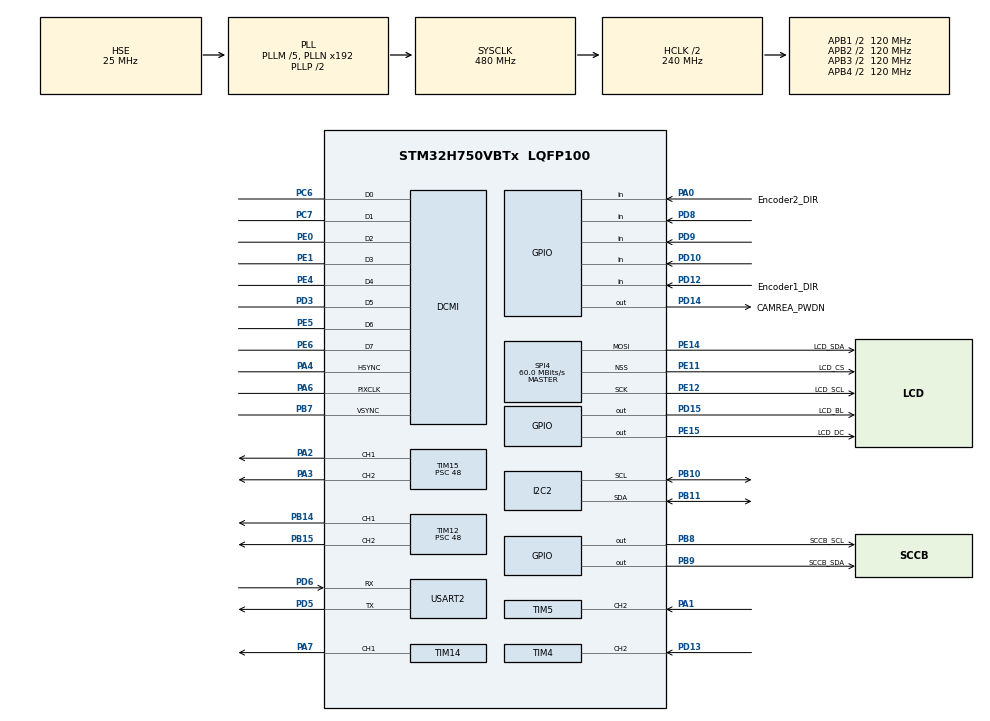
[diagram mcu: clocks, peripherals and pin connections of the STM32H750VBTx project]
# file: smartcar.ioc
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CORTEX_M7.AccessPermission_Spec=MPU_REGION_FULL_ACCESS
CORTEX_M7.BaseAddress_Spec=0x24000000
CORTEX_M7.CPU_DCache=Enabled
CORTEX_M7.CPU_ICache=Enabled
CORTEX_M7.DisableExec_Spec=MPU_INSTRUCTION_ACCESS_ENABLE
CORTEX_M7.Enable-Cortex_Memory_Protection_Unit_Region0_Settings=__NULL
CORTEX_M7.IsBufferable_Spec=MPU_ACCESS_BUFFERABLE
CORTEX_M7.IsCacheable_Spec=MPU_ACCESS_CACHEABLE
CORTEX_M7.MPU_Control=__NULL
CORTEX_M7.Size_Spec=MPU_REGION_SIZE_512KB
CORTEX_M7.SubRegionDisable_Spec=0x00
CORTEX_M7.default_mode_Activation=0
Dma.DCMI.0.Direction=DMA_PERIPH_TO_MEMORY
Dma.DCMI.0.EventEnable=DISABLE
Dma.DCMI.0.FIFOMode=DMA_FIFOMODE_ENABLE
Dma.DCMI.0.FIFOThreshold=DMA_FIFO_THRESHOLD_FULL
Dma.DCMI.0.Instance=DMA2_Stream7
Dma.DCMI.0.MemBurst=DMA_MBURST_SINGLE
Dma.DCMI.0.MemDataAlignment=DMA_MDATAALIGN_WORD
Dma.DCMI.0.MemInc=DMA_MINC_ENABLE
Dma.DCMI.0.Mode=DMA_CIRCULAR
Dma.DCMI.0.PeriphBurst=DMA_PBURST_SINGLE
Dma.DCMI.0.PeriphDataAlignment=DMA_PDATAALIGN_WORD
Dma.DCMI.0.PeriphInc=DMA_PINC_DISABLE
Dma.DCMI.0.Polarity=HAL_DMAMUX_REQ_GEN_RISING
Dma.DCMI.0.Priority=DMA_PRIORITY_LOW
Dma.DCMI.0.RequestNumber=1
Dma.DCMI.0.SignalID=NONE
Dma.DCMI.0.SyncEnable=DISABLE
Dma.DCMI.0.SyncPolarity=HAL_DMAMUX_SYNC_NO_EVENT
Dma.DCMI.0.SyncRequestNumber=1
Dma.DCMI.0.SyncSignalID=NONE
Dma.Request0=DCMI
I2C2.Timing=0x307075B1
Mcu.Family=STM32H7
Mcu.Name=STM32H750VBTx
Mcu.Package=LQFP100
NVIC.DCMI_IRQn=true\:5\:0\:true\:false\:true\:true\:true\:true
NVIC.DMA2_Stream7_IRQn=true\:0\:0\:false\:false\:true\:false\:true\:true
NVIC.FPU_IRQn=true\:0\:0\:false\:false\:true\:true\:false\:true
NVIC.I2C2_ER_IRQn=true\:0\:0\:false\:false\:true\:true\:true\:true
NVIC.I2C2_EV_IRQn=true\:0\:0\:false\:false\:true\:true\:true\:true
NVIC.PriorityGroup=NVIC_PRIORITYGROUP_4
NVIC.RCC_IRQn=true\:0\:0\:false\:false\:true\:true\:false\:true
NVIC.SPI4_IRQn=true\:0\:0\:false\:false\:true\:true\:true\:true
NVIC.TIM15_IRQn=true\:3\:0\:true\:false\:true\:true\:true\:true
NVIC.TIM4_IRQn=true\:1\:0\:true\:false\:true\:true\:true\:true
NVIC.TIM5_IRQn=true\:1\:0\:true\:false\:true\:true\:true\:true
NVIC.TIM6_DAC_IRQn=true\:2\:0\:true\:false\:true\:true\:true\:true
NVIC.TIM8_BRK_TIM12_IRQn=true\:3\:0\:true\:false\:true\:true\:true\:true
NVIC.TIM8_TRG_COM_TIM14_IRQn=true\:3\:0\:true\:false\:true\:true\:true\:true
NVIC.USART2_IRQn=true\:0\:0\:false\:false\:true\:true\:true\:true
PA0.GPIO_Label=Encoder2_DIR
PA0.Signal=GPIO_Input
PA1.Signal=S_TIM5_CH2
PA13\ (JTMS/SWDIO).Mode=Serial_Wire
PA13\ (JTMS/SWDIO).Signal=DEBUG_JTMS-SWDIO
PA14\ (JTCK/SWCLK).Mode=Serial_Wire
PA14\ (JTCK/SWCLK).Signal=DEBUG_JTCK-SWCLK
PA2.Signal=S_TIM15_CH1
PA3.Signal=S_TIM15_CH2
PA4.Mode=Slave_8_bits_External_Synchro
PA4.Signal=DCMI_HSYNC
PA6.Mode=Slave_8_bits_External_Synchro
PA6.Signal=DCMI_PIXCLK
PA7.Signal=S_TIM14_CH1
PB10.Mode=I2C
PB10.Signal=I2C2_SCL
PB11.Mode=I2C
PB11.Signal=I2C2_SDA
PB14.Signal=S_TIM12_CH1
PB15.Signal=S_TIM12_CH2
PB7.Mode=Slave_8_bits_External_Synchro
PB7.Signal=DCMI_VSYNC
PB8.GPIO_Label=SCCB_SCL
PB8.GPIO_ModeDefaultOutputPP=GPIO_MODE_OUTPUT_OD
PB8.GPIO_PuPd=GPIO_PULLUP
PB8.Signal=GPIO_Output
PB9.GPIO_Label=SCCB_SDA
PB9.GPIO_ModeDefaultOutputOD=GPIO_MODE_OUTPUT_OD
PB9.GPIO_ModeDefaultOutputPP=GPIO_MODE_OUTPUT_OD
PB9.GPIO_PuPd=GPIO_PULLUP
PB9.Signal=GPIO_Output
PC14-OSC32_IN\ (OSC32_IN).Mode=LSE-External-Oscillator
PC14-OSC32_IN\ (OSC32_IN).Signal=RCC_OSC32_IN
PC15-OSC32_OUT\ (OSC32_OUT).Mode=LSE-External-Oscillator
PC15-OSC32_OUT\ (OSC32_OUT).Signal=RCC_OSC32_OUT
PC6.Mode=Slave_8_bits_External_Synchro
PC6.Signal=DCMI_D0
PC7.Mode=Slave_8_bits_External_Synchro
PC7.Signal=DCMI_D1
PD10.GPIO_PuPd=GPIO_PULLUP
PD10.Signal=GPIO_Input
PD12.GPIO_Label=Encoder1_DIR
PD12.Signal=GPIO_Input
PD13.Signal=S_TIM4_CH2
PD14.GPIO_Label=CAMREA_PWDN
PD14.GPIO_PuPd=GPIO_PULLUP
PD14.Signal=GPIO_Output
PD15.GPIO_Label=LCD_BL
PD15.Signal=GPIO_Output
PD3.Mode=Slave_8_bits_External_Synchro
PD3.Signal=DCMI_D5
PD5.Mode=Asynchronous
PD5.Signal=USART2_TX
PD6.Mode=Asynchronous
PD6.Signal=USART2_RX
PD8.GPIO_PuPd=GPIO_PULLUP
PD8.Signal=GPIO_Input
PD9.GPIO_PuPd=GPIO_PULLUP
PD9.Signal=GPIO_Input
PE0.Mode=Slave_8_bits_External_Synchro
PE0.Signal=DCMI_D2
PE1.Mode=Slave_8_bits_External_Synchro
PE1.Signal=DCMI_D3
PE11.GPIO_Label=LCD_CS
PE11.GPIO_Speed=GPIO_SPEED_FREQ_VERY_HIGH
PE11.Mode=NSS_Signal_Hard_Output
PE11.Signal=SPI4_NSS
PE12.GPIO_Label=LCD_SCL
PE12.GPIO_Speed=GPIO_SPEED_FREQ_VERY_HIGH
PE12.Mode=TX_Only_Simplex_Unidirect_Master
PE12.Signal=SPI4_SCK
PE14.GPIO_Label=LCD_SDA
PE14.GPIO_Speed=GPIO_SPEED_FREQ_VERY_HIGH
PE14.Mode=TX_Only_Simplex_Unidirect_Master
PE14.Signal=SPI4_MOSI
PE15.GPIO_Label=LCD_DC
PE15.Signal=GPIO_Output
PE4.Mode=Slave_8_bits_External_Synchro
PE4.Signal=DCMI_D4
PE5.Mode=Slave_8_bits_External_Synchro
PE5.Signal=DCMI_D6
PE6.Mode=Slave_8_bits_External_Synchro
PE6.Signal=DCMI_D7
PH0-OSC_IN\ (PH0).Mode=HSE-External-Oscillator
PH0-OSC_IN\ (PH0).Signal=RCC_OSC_IN
PH1-OSC_OUT\ (PH1).Mode=HSE-External-Oscillator
PH1-OSC_OUT\ (PH1).Signal=RCC_OSC_OUT
ProjectManager.HeapSize=0x200
ProjectManager.StackSize=0x400
ProjectManager.TargetToolchain=CMake
RCC.ADCFreq_Value=50390625
RCC.APB1Freq_Value=120000000
RCC.APB2Freq_Value=120000000
RCC.APB3Freq_Value=120000000
RCC.APB4Freq_Value=120000000
RCC.CortexFreq_Value=480000000
RCC.D1PPRE=RCC_APB3_DIV2
RCC.D2PPRE1=RCC_APB1_DIV2
RCC.D2PPRE2=RCC_APB2_DIV2
RCC.D3PPRE=RCC_APB4_DIV2
RCC.DIVM1=5
RCC.DIVN1=192
RCC.DIVQ1=40
RCC.HCLKFreq_Value=240000000
RCC.HPRE=RCC_HCLK_DIV2
RCC.PLLSourceVirtual=RCC_PLLSOURCE_HSE
RCC.SYSCLKFreq_VALUE=480000000
RCC.SYSCLKSource=RCC_SYSCLKSOURCE_PLLCLK
RCC.USBFreq_Value=24000000
SH.S_TIM12_CH1.0=TIM12_CH1,PWM Generation1 CH1
SH.S_TIM12_CH2.0=TIM12_CH2,PWM Generation2 CH2
SH.S_TIM14_CH1.0=TIM14_CH1,PWM Generation1 CH1
SH.S_TIM15_CH1.0=TIM15_CH1,PWM Generation1 CH1
SH.S_TIM15_CH2.0=TIM15_CH2,PWM Generation2 CH2
SH.S_TIM4_CH2.0=TIM4_CH2,Input_Capture2_from_TI2
SH.S_TIM5_CH2.0=TIM5_CH2,Input_Capture2_from_TI2
SPI4.BaudRatePrescaler=SPI_BAUDRATEPRESCALER_2
SPI4.CalculateBaudRate=60.0 MBits/s
SPI4.DataSize=SPI_DATASIZE_8BIT
SPI4.Direction=SPI_DIRECTION_2LINES_TXONLY
SPI4.Mode=SPI_MODE_MASTER
SPI4.VirtualNSS=VM_NSSHARD
SPI4.VirtualType=VM_MASTER
TIM12.AutoReloadPreload=TIM_AUTORELOAD_PRELOAD_ENABLE
TIM12.Channel-PWM\ Generation1\ CH1=TIM_CHANNEL_1
TIM12.Channel-PWM\ Generation2\ CH2=TIM_CHANNEL_2
TIM12.Period=2000
TIM12.Prescaler=48
TIM12.Pulse-PWM\ Generation1\ CH1=0
TIM12.Pulse-PWM\ Generation2\ CH2=0
TIM14.Channel=TIM_CHANNEL_1
TIM14.Period=100
TIM14.Prescaler=4800
TIM15.Channel-PWM\ Generation1\ CH1=TIM_CHANNEL_1
TIM15.Channel-PWM\ Generation2\ CH2=TIM_CHANNEL_2
TIM15.Period=2000
TIM15.Prescaler=48
TIM15.Pulse-PWM\ Generation2\ CH2=0
TIM4.Channel-Input_Capture2_from_TI2=TIM_CHANNEL_2
TIM4.Prescaler=23
TIM4.TIM_MasterSlaveMode=TIM_MASTERSLAVEMODE_DISABLE
TIM5.Channel-Input_Capture2_from_TI2=TIM_CHANNEL_2
TIM5.Period=65535
TIM5.Prescaler=23
TIM6.Period=99
TIM6.Prescaler=239
USART2.VirtualMode-Asynchronous=VM_ASYNC
VP_MEMORYMAP_VS_MEMORYMAP.Mode=CurAppReg
VP_TIM14_VS_ClockSourceINT.Mode=Enable_Timer
VP_TIM6_VS_ClockSourceINT.Mode=Enable_Timer
board=custom

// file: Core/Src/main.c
/* USER CODE BEGIN Header */
/**
  ******************************************************************************
  * @file           : main.c
  * @brief          : Main program body
  ******************************************************************************
  * @attention
  *
  * Copyright (c) 2025 STMicroelectronics.
  * All rights reserved.
  *
  * This software is licensed under terms that can be found in the LICENSE file
  * in the root directory of this software component.
  * If no LICENSE file comes with this software, it is provided AS-IS.
  *
  ******************************************************************************
  */
/* USER CODE END Header */
#include "main.h"
#include "dcmi.h"
#include "dma.h"
#include "i2c.h"
#include "spi.h"
#include "tim.h"
#include "usart.h"
#include "gpio.h"

/* USER CODE BEGIN Includes */
/*
 * 重构说明：应用层需要的驱动（LCD / 摄像头 / 串口 / 电机 / 蜂鸣器 / 视觉算法）
 * 全部由 app.h 统一转发，main.c 不再需要认识任何具体驱动。
 * 这样即使以后增删硬件模块，这个文件也不用改。
 */
#include "app.h"
#include "chassis.h"
#include "motor.h"
/* USER CODE END Includes */

/* USER CODE BEGIN PTD */
// CubeMX 用户代码区标记，请勿删除。
/* USER CODE END PTD */

/* USER CODE BEGIN PD */
#define TIMEOUT_MS 300000U
/* USER CODE END PD */

/* USER CODE BEGIN PV */
/*
 * 重构说明：这里原来放着 5 个应用状态变量，属于"应用数据寄生在 CubeMX 文件里"。
 * 现已各归其位，本区不再需要声明任何变量：
 *     duty_1 / duty_2        -> motor.c 内部（static，通过 Motor_GetDuty() 读取）
 *     g_target_speed_R / _L  -> chassis.c 内部（通过 Chassis_SetBaseSpeed() 调整）
 *     delta（阈值偏移量）    -> app.c 内部（由面板按键调整，已改为有符号并限幅）
 */
/* USER CODE END PV */

void SystemClock_Config(void);

/* USER CODE BEGIN 0 */
void MPU_Config(void);
/* USER CODE END 0 */

int main(void)
{

  /* USER CODE BEGIN 1 */
	MPU_Config();
  /* USER CODE END 1 */

  /* Enable the CPU Cache */

  /* Enable I-Cache---------------------------------------------------------*/
  SCB_EnableICache();

  /* Enable D-Cache---------------------------------------------------------*/
  SCB_EnableDCache();

  /* MCU Configuration--------------------------------------------------------*/

  /* Reset of all peripherals, Initializes the Flash interface and the Systick. */
  HAL_Init();

  /* Configure the system clock */
  SystemClock_Config();

  /* USER CODE BEGIN SysInit */
  //MPU_Config();
  /* USER CODE END SysInit */

  /* Initialize all configured peripherals */
  MX_GPIO_Init();
  MX_DMA_Init();
  MX_SPI4_Init();
  MX_DCMI_Init();
  MX_USART2_UART_Init();
  MX_I2C2_Init();
  MX_TIM12_Init();
  MX_TIM14_Init();
  MX_TIM15_Init();
  MX_TIM4_Init();
  MX_TIM5_Init();
  MX_TIM6_Init();
  /* USER CODE BEGIN 2 */

  /* 应用层初始化：底盘(电机+编码器) -> 串口 -> 摄像头 -> LCD -> 蜂鸣器 -> 面板 */
  App_Init();

#if 0  /* ======== 以下为重构前的初始化代码，保留作对照，确认无误后可整段删除 ======== */

  //initialize
  Motor_Init();
  Encoder_Init();

  Serial_StartReceive();
  Serial_SendString("stm32_start");
  /*if(WaitForStart(0,"start", TIMEOUT_MS) != 1U)
  {
    Error_Handler();
  }
    */

  if (OV2640_Init() != OV2640_Success)
  {
    uint16_t sensor_id = OV2640_ReadID();
    uint8_t sccb_error = SCCB_LastError;
    Serial_Printf(
      "OV2640 init failed, ID=0x%04X, SCCB error=%u\r\n",
      (unsigned int)sensor_id, (unsigned int)sccb_error
    );
    Error_Handler();
  }
  OV2640_DMA_Transmit_Continuous(Camera_Buffer,OV2640_BufferSize);	// 使用 DMA 连续传输摄像头图像。

  LCD_Init();
  LCD_SetAsciiFont(&ASCII_Font16);
  LCD_ShowNumMode(Fill_Space);

  HAL_TIM_PWM_Start(&htim14, TIM_CHANNEL_1);

  Serial_SendString("stm32_ready");
  Display_Motor_Speeds();
  buzzer_beep(50,100);
  HAL_Delay(1000U);
  Display_Motor_Speeds();
  //__HAL_TIM_SET_COMPARE(&htim12, TIM_CHANNEL_1, 70);
  // 初始化 LCD 显示屏。

#endif /* ======== 重构前初始化代码结束 ======== */
  /* USER CODE END 2 */

  /* Infinite loop */
  /* USER CODE BEGIN WHILE */
  //uint32_t i = 0U;

  while (1)
  {
    /* 应用层主循环体：按键 -> 图像处理 -> 控制 -> 显示 */

    App_Loop();

    //Motor_SetDuty(MOTOR_L, 50);
    //Motor_SetDuty(MOTOR_R, 50);
    //HAL_Delay(2000);
    //Chassis_Stop();
    //HAL_Delay(2000);

    /* USER CODE END WHILE */

  }
}

void SystemClock_Config(void)
{
  RCC_OscInitTypeDef RCC_OscInitStruct = {0};
  RCC_ClkInitTypeDef RCC_ClkInitStruct = {0};

  /** Supply configuration update enable
  */
  HAL_PWREx_ConfigSupply(PWR_LDO_SUPPLY);

  /** Configure the main internal regulator output voltage
  */
  __HAL_PWR_VOLTAGESCALING_CONFIG(PWR_REGULATOR_VOLTAGE_SCALE0);

  while(!__HAL_PWR_GET_FLAG(PWR_FLAG_VOSRDY)) {}

  /** Initializes the RCC Oscillators according to the specified parameters
  * in the RCC_OscInitTypeDef structure.
  */
  RCC_OscInitStruct.OscillatorType = RCC_OSCILLATORTYPE_HSE;
  RCC_OscInitStruct.HSEState = RCC_HSE_ON;
  RCC_OscInitStruct.PLL.PLLState = RCC_PLL_ON;
  RCC_OscInitStruct.PLL.PLLSource = RCC_PLLSOURCE_HSE;
  RCC_OscInitStruct.PLL.PLLM = 5;
  RCC_OscInitStruct.PLL.PLLN = 192;
  RCC_OscInitStruct.PLL.PLLP = 2;
  RCC_OscInitStruct.PLL.PLLQ = 40;
  RCC_OscInitStruct.PLL.PLLR = 2;
  RCC_OscInitStruct.PLL.PLLRGE = RCC_PLL1VCIRANGE_2;
  RCC_OscInitStruct.PLL.PLLVCOSEL = RCC_PLL1VCOWIDE;
  RCC_OscInitStruct.PLL.PLLFRACN = 0;
  if (HAL_RCC_OscConfig(&RCC_OscInitStruct) != HAL_OK)
  {
    Error_Handler();
  }

  /** Initializes the CPU, AHB and APB buses clocks
  */
  RCC_ClkInitStruct.ClockType = RCC_CLOCKTYPE_HCLK|RCC_CLOCKTYPE_SYSCLK
                              |RCC_CLOCKTYPE_PCLK1|RCC_CLOCKTYPE_PCLK2
                              |RCC_CLOCKTYPE_D3PCLK1|RCC_CLOCKTYPE_D1PCLK1;
  RCC_ClkInitStruct.SYSCLKSource = RCC_SYSCLKSOURCE_PLLCLK;
  RCC_ClkInitStruct.SYSCLKDivider = RCC_SYSCLK_DIV1;
  RCC_ClkInitStruct.AHBCLKDivider = RCC_HCLK_DIV2;
  RCC_ClkInitStruct.APB3CLKDivider = RCC_APB3_DIV2;
  RCC_ClkInitStruct.APB1CLKDivider = RCC_APB1_DIV2;
  RCC_ClkInitStruct.APB2CLKDivider = RCC_APB2_DIV2;
  RCC_ClkInitStruct.APB4CLKDivider = RCC_APB4_DIV2;

  if (HAL_RCC_ClockConfig(&RCC_ClkInitStruct, FLASH_LATENCY_4) != HAL_OK)
  {
    Error_Handler();
  }
}

/* USER CODE BEGIN 4 */

/* 等待特定行，丢弃不匹配的行。 */

// 配置 MPU。
void MPU_Config(void)
{
	MPU_Region_InitTypeDef MPU_InitStruct;

	HAL_MPU_Disable();		// 禁用 MPU。

	MPU_InitStruct.Enable 				= MPU_REGION_ENABLE;
	MPU_InitStruct.BaseAddress 		= 0x24000000;
	MPU_InitStruct.Size 					= MPU_REGION_SIZE_512KB;
	MPU_InitStruct.AccessPermission 	= MPU_REGION_FULL_ACCESS;
	MPU_InitStruct.IsBufferable 		= MPU_ACCESS_BUFFERABLE;
	MPU_InitStruct.IsCacheable 		= MPU_ACCESS_CACHEABLE;
	MPU_InitStruct.IsShareable 		= MPU_ACCESS_SHAREABLE;
	MPU_InitStruct.Number 				= MPU_REGION_NUMBER0;
	MPU_InitStruct.TypeExtField 		= MPU_TEX_LEVEL0;
	MPU_InitStruct.SubRegionDisable 	= 0x00;
	MPU_InitStruct.DisableExec 		= MPU_INSTRUCTION_ACCESS_ENABLE;

	HAL_MPU_ConfigRegion(&MPU_InitStruct);

	HAL_MPU_Enable(MPU_PRIVILEGED_DEFAULT);	// 启用 MPU。
}
/* USER CODE END 4 */

void Error_Handler(void)
{
  /* USER CODE BEGIN Error_Handler_Debug */
  /* 通过应用层上报故障，main.c 因此不需要直接包含串口驱动 */
  App_OnFatalError();
  /* User can add his own implementation to report the HAL error return state */
  __disable_irq();
  while (1)
  {

  }
  /* USER CODE END Error_Handler_Debug */
}
